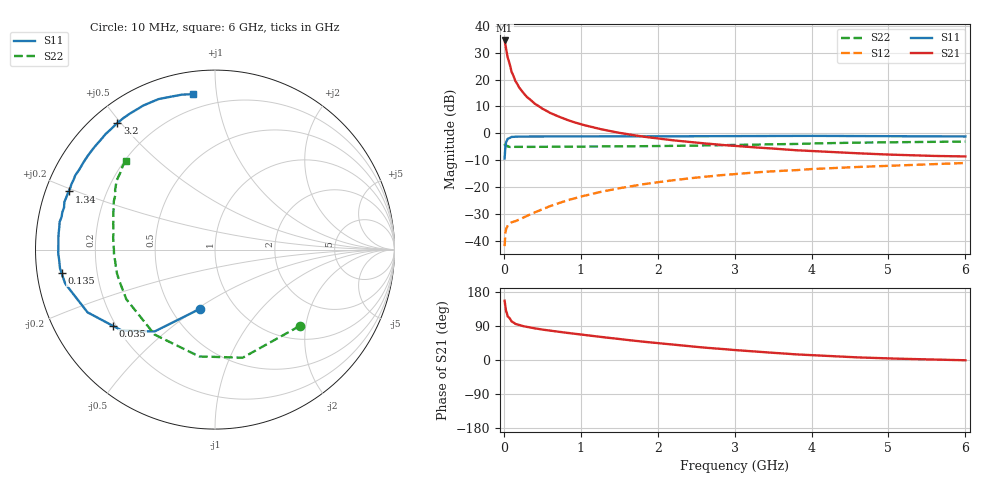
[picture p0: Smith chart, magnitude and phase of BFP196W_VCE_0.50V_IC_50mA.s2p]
! Infineon Technologies  Discrete & RF Semiconductors
! BFP196W
! VCE = 0.50V,  IC =  50mA
! Common Emitter S-Parameters:  Jan 2016
# GHz  S  MA  R  50
!  f  S11  S21  S12  S22
! GHz  MAG  ANG  MAG  ANG  MAG  ANG  MAG  ANG
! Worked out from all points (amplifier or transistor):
!   210 points, 10 MHz to 6 GHz, reference 50 ohm
!   highest |S21| = 34.5 dB at 10 MHz (marker M1)
!   |S21| within 3 dB of that: start of sweep to 28.88 MHz
!   unconditionally stable (mu >= 1): 370.3 MHz to end of sweep
!   at 185 MHz: K = 0.68, MSG = 25.0 dB, |S12| = -32.2 dB
!   at 1.52 GHz: K = 1.25, MAG = 7.2 dB, |S12| = -20.3 dB
!   at 6 GHz: K = 1.13, MAG = -1.0 dB, |S12| = -11.0 dB
!   S11 on the Smith chart (normalised r, x): 10 MHz: 0.69, -0.51; 35 MHz: 0.19, -0.32; 135 MHz: 0.07, -0.07; 1.34 GHz: 0.07, +0.19; 3.2 GHz: 0.07, +0.49; 6 GHz: 0.12, +0.86
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0.01  0.3403 -104.2  53.19 156.4  0.008 65.1  0.6351 -42.1
0.02  0.5667 -126.4  44.78 139.9  0.0141 53.0  0.6217 -75.6
0.03  0.6881 -139.1  36.84 128.6  0.0168 43.1  0.6018 -98.4
0.035  0.7093 -143.2  33.87 126.0  0.0174 40.4  0.5845 -104.9
0.05  0.7916 -153.8  25.55 114.9  0.0195 33.3  0.5809 -125.4
0.1  0.8559 -167.2  13.96 101.6  0.0222 29.3  0.5661 -150.8
0.135  0.8647 -171.4  10.76 97.7  0.023 30.9  0.5604 -157.9
0.15  0.8699 -173.1  9.405 95.3  0.0233 31.5  0.5607 -161.0
0.2  0.8704 -176.4  7.082 92.0  0.025 35.8  0.5621 -166.1
0.24  0.8732 -178.2  5.984 89.9  0.0266 38.5  0.5619 -168.7
0.3  0.8727 179.8  4.735 87.4  0.0292 42.6  0.5596 -171.8
0.4  0.8743 176.6  3.573 83.5  0.0338 47.3  0.5609 -174.7
0.6  0.8758 172.1  2.402 77.5  0.0443 54.2  0.5635 -178.8
0.8  0.874 168.0  1.821 72.2  0.0554 57.5  0.5643 178.7
1.02  0.8745 164.0  1.449 66.8  0.0677 58.9  0.5677 176.3
1.34  0.877 158.3  1.133 59.0  0.0861 58.9  0.5713 173.4
2.02  0.8795 146.6  0.795 44.1  0.1244 54.8  0.5802 167.5
3.1  0.8885 129.2  0.57 24.8  0.1798 44.4  0.612 157.3
3.2  0.8908 127.7  0.556 23.2  0.1844 43.3  0.6153 156.4
4.1  0.8958 115.3  0.461 11.8  0.2202 34.7  0.6517 148.4
5.1  0.8852 105.0  0.399 3.6  0.252 26.1  0.6826 140.2
6  0.8741 98.0  0.372 -0.7  0.2813 19.5  0.7014 135.3
